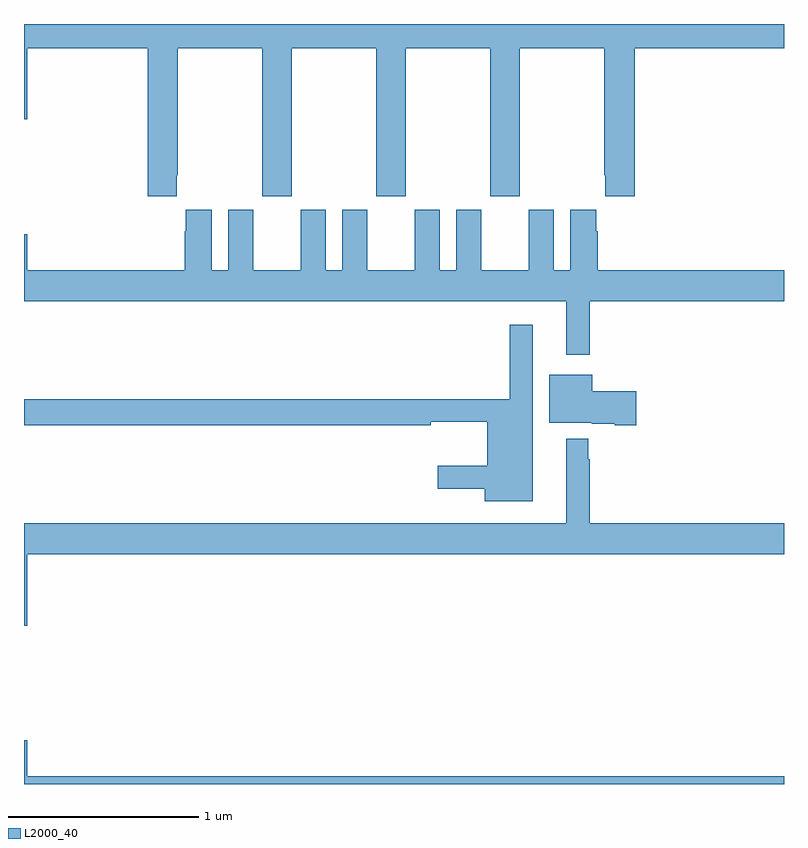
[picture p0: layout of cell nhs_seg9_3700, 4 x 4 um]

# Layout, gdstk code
import gdstk
lib = gdstk.Library(unit=1e-6, precision=1e-09)
def P(c, l, *ps):  # polygons
    for p in ps: c.add(gdstk.Polygon(p, *l))
L2000_40 = (2000, 40)

nhs_seg9_3700 = lib.new_cell('nhs_seg9_3700')
P(nhs_seg9_3700, L2000_40, [(321.805,1243.705),(321.81,1243.705),(321.81,1244.372),(322.255,1244.372),(322.255,1243.593),(322.41,1243.593),(322.41,1244.372),(322.855,1244.372),(322.855,1243.593),(323.01,1243.593),(323.01,1244.372),(323.455,1244.372),(323.455,1243.593),(323.61,1243.593),(323.61,1244.372),(324.055,1244.372),(324.055,1243.705),(324.059,1243.705),(324.059,1243.593),(324.215,1243.593),(324.215,1244.372),(325,1244.372),(325,1244.5),(321,1244.5),(321,1243.998),(321.016,1243.998),(321.016,1244.372),(321.65,1244.372),(321.65,1243.593),(321.805,1243.593)],
  [(323.977,1243.04),(325,1243.04),(325,1243.204),(324.02,1243.204),(324.02,1243.409),(324.013,1243.409),(324.013,1243.522),(323.876,1243.522),(323.876,1243.204),(323.788,1243.204),(323.788,1243.522),(323.657,1243.522),(323.657,1243.204),(323.407,1243.204),(323.407,1243.522),(323.276,1243.522),(323.276,1243.204),(323.188,1243.204),(323.188,1243.522),(323.057,1243.522),(323.057,1243.204),(322.807,1243.204),(322.807,1243.522),(322.676,1243.522),(322.676,1243.204),(322.588,1243.204),(322.588,1243.522),(322.457,1243.522),(322.457,1243.204),(322.207,1243.204),(322.207,1243.522),(322.076,1243.522),(322.076,1243.204),(321.988,1243.204),(321.988,1243.522),(321.851,1243.522),(321.851,1243.409),(321.845,1243.409),(321.845,1243.204),(321.016,1243.204),(321.016,1243.393),(321,1243.393),(321,1243.04),(323.855,1243.04),(323.855,1242.759),(323.977,1242.759)],
  [(323.677,1242.916),(323.556,1242.916),(323.556,1242.524),(321,1242.524),(321,1242.388),(323.142,1242.388),(323.142,1242.406),(323.438,1242.406),(323.438,1242.175),(323.178,1242.175),(323.178,1242.053),(323.426,1242.053),(323.426,1241.987),(323.677,1241.987)],
  [(324.223,1242.567),(323.992,1242.567),(323.992,1242.655),(323.765,1242.655),(323.765,1242.401),(323.988,1242.401),(323.988,1242.395),(324.11,1242.395),(324.11,1242.389),(324.223,1242.389)],
  [(321.016,1241.708),(325,1241.708),(325,1241.872),(323.977,1241.872),(323.977,1242.209),(323.969,1242.209),(323.969,1242.316),(323.855,1242.316),(323.855,1241.872),(321,1241.872),(321,1241.334),(321.016,1241.334)],
  [(325,1240.54),(321.016,1240.54),(321.016,1240.729),(321,1240.729),(321,1240.5),(325,1240.5)])

lib.write_gds('nhs_seg9_3700.gds')
